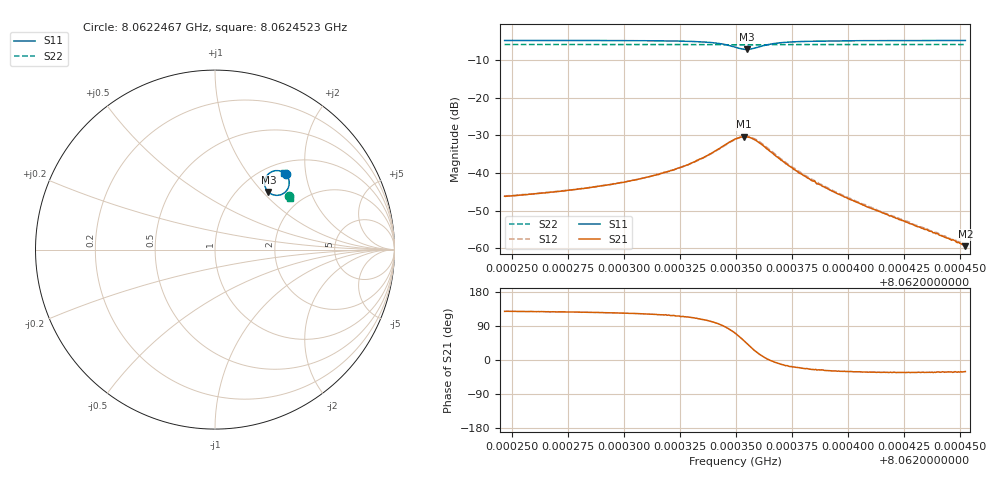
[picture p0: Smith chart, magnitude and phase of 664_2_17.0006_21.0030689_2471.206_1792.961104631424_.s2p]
#  HZ  S  RI  R  50.00
! Rohde & Schwarz Vector Network Analyzer
! Rohde-Schwarz,ZNB20-2Port,1311601062101988,3.16
! Created: UTC 3/20/2024, 11:21:53 PM
! freq[Hz]  re:S11  im:S11  re:S21  im:S21  re:S12  im:S12  re:S22  im:S22
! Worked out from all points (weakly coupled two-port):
!   401 points, 8.0622467 GHz to 8.0624523 GHz, reference 50 ohm
!   highest |S21| = -30.35 dB at 8.0623536 GHz (marker M1); lowest = -59.4 dB at 8.0624523 GHz (marker M2)
!   lowest |S11| = -7.2 dB at 8.0623547 GHz (marker M3), VSWR 2.56, Z = 67.8 + j53.8 ohm
!   |S11| at or under -10 dB: nowhere
!   |S22| runs from -6.0 to -5.9 dB; largest |S21 - S12| = 0.0012
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8.06224674e9  0.3946 0.4192  -0.00306 0.00387  -0.00284 0.00405  0.4125 0.2979
8.06226576e9  0.3972 0.4161  -0.00333 0.00438  -0.00311 0.0046  0.4131 0.2968
8.06228118e9  0.4001 0.4126  -0.00365 0.00504  -0.00339 0.00531  0.4137 0.2958
8.06230019e9  0.4045 0.4059  -0.00422 0.00632  -0.00382 0.00658  0.4145 0.2946
8.06231561e9  0.4091 0.3961  -0.00477 0.00835  -0.00428 0.00867  0.4151 0.2933
8.06232795e9  0.413 0.3807  -0.0051 0.0117  -0.00446 0.0119  0.4154 0.292
8.06233257e9  0.4137 0.3709  -0.00512 0.0139  -0.0042 0.0138  0.4155 0.2914
8.06233617e9  0.4129 0.3606  -0.00441 0.0159  -0.00362 0.016  0.4154 0.2907
8.06234285e9  0.4024 0.3333  -0.00139 0.0214  -0.000573 0.0212  0.415 0.2895
8.06234953e9  0.3577 0.3035  0.00918 0.0269  0.00959 0.0262  0.413 0.2884
8.06235364e9  0.3086 0.3126  0.0195 0.0233  0.0198 0.0232  0.4111 0.289
8.06235467e9  0.2976 0.3209  0.0216 0.0212  0.0221 0.0212  0.4107 0.2894
8.06235673e9  0.2818 0.3434  0.0245 0.016  0.0252 0.0161  0.4102 0.2903
8.0623593e9  0.276 0.3735  0.025 0.00926  0.0259 0.00903  0.4104 0.2918
8.06236598e9  0.2996 0.4231  0.0186 -0.000963  0.0194 -0.00165  0.4123 0.2934
8.06237369e9  0.3291 0.4382  0.0119 -0.0036  0.012 -0.00415  0.4141 0.2934
8.06238397e9  0.3511 0.4396  0.00715 -0.00334  0.00724 -0.00389  0.4154 0.2926
8.06239322e9  0.3621 0.4379  0.00501 -0.00274  0.00497 -0.00311  0.4163 0.292
8.06239939e9  0.3671 0.4365  0.00407 -0.00237  0.00403 -0.00271  0.4166 0.2916
8.0624184e9  0.3766 0.4323  0.00228 -0.00147  0.00225 -0.00168  0.4176 0.2904
8.06243588e9  0.3817 0.4292  0.00145 -0.000926  0.00141 -0.00106  0.4183 0.2892
8.06245232e9  0.3851 0.4274  0.000925 -0.000544  0.000924 -0.000644  0.4188 0.2883
